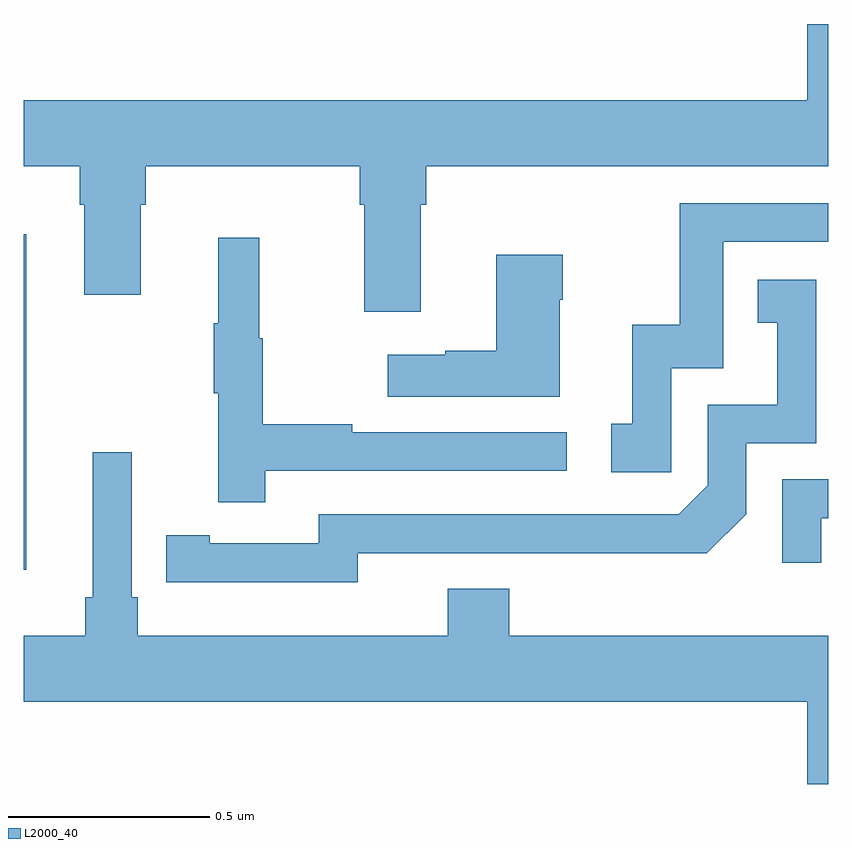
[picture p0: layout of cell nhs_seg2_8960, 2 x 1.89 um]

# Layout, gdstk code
import gdstk
lib = gdstk.Library(unit=1e-6, precision=1e-09)
def R(c, l, rs):  # rectangles x0, y0, x1, y1
    for r in rs: c.add(gdstk.rectangle(r[:2], r[2:], *l))
def P(c, l, *ps):  # polygons
    for p in ps: c.add(gdstk.Polygon(p, *l))
L2000_40 = (2000, 40)

nhs_seg2_8960 = lib.new_cell('nhs_seg2_8960')
R(nhs_seg2_8960, L2000_40, [(223,613.332,223.006,614.167)])
P(nhs_seg2_8960, L2000_40, [(223.987,614.24),(224,614.24),(224,614.336),(225,614.336),(225,614.689),(224.948,614.689),(224.948,614.5),(223,614.5),(223,614.336),(223.139,614.336),(223.139,614.24),(223.151,614.24),(223.151,614.016),(223.291,614.016),(223.291,614.24),(223.304,614.24),(223.304,614.336),(223.835,614.336),(223.835,614.24),(223.847,614.24),(223.847,613.974),(223.987,613.974)],
  [(224.61,613.833),(224.739,613.833),(224.739,614.148),(225,614.148),(225,614.244),(224.631,614.244),(224.631,613.942),(224.513,613.942),(224.513,613.695),(224.46,613.695),(224.46,613.575),(224.61,613.575)],
  [(223.601,613.578),(224.35,613.578),(224.35,613.674),(223.817,613.674),(223.817,613.694),(223.594,613.694),(223.594,613.908),(223.586,613.908),(223.586,614.158),(223.484,614.158),(223.484,613.945),(223.473,613.945),(223.473,613.771),(223.484,613.771),(223.484,613.5),(223.601,613.5)],
  [(224.332,614.003),(224.34,614.003),(224.34,614.116),(224.174,614.116),(224.174,613.877),(224.048,613.877),(224.048,613.867),(223.905,613.867),(223.905,613.763),(224.332,613.763)],
  [(223.83,613.374),(224.29,613.374),(224.29,613.373),(224.698,613.373),(224.796,613.47),(224.796,613.647),(224.97,613.647),(224.97,614.053),(224.824,614.053),(224.824,613.947),(224.873,613.947),(224.873,613.743),(224.7,613.743),(224.7,613.542),(224.628,613.47),(223.734,613.47),(223.734,613.398),(223.462,613.398),(223.462,613.418),(223.354,613.418),(223.354,613.302),(223.462,613.302),(223.462,613.301),(223.83,613.301)],
  [(225,613.168),(224.207,613.168),(224.207,613.285),(224.054,613.285),(224.054,613.168),(223.283,613.168),(223.283,613.264),(223.269,613.264),(223.269,613.624),(223.172,613.624),(223.172,613.264),(223.153,613.264),(223.153,613.168),(223,613.168),(223,613.004),(224.948,613.004),(224.948,612.8),(225,612.8)],
  [(224.983,613.461),(225,613.461),(225,613.557),(224.886,613.557),(224.886,613.35),(224.983,613.35)])

lib.write_gds('nhs_seg2_8960.gds')
